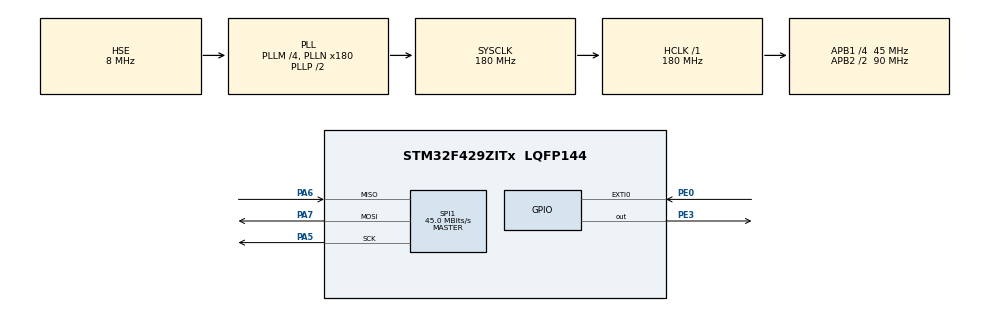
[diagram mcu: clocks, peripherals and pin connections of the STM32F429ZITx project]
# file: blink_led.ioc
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Mcu.Family=STM32F4
Mcu.Name=STM32F429ZITx
Mcu.Package=LQFP144
NVIC.EXTI0_IRQn=true\:0\:0\:false\:false\:true\:true\:true\:true
NVIC.PriorityGroup=NVIC_PRIORITYGROUP_4
PA13.Mode=Serial_Wire
PA13.Signal=SYS_JTMS-SWDIO
PA14.Mode=Serial_Wire
PA14.Signal=SYS_JTCK-SWCLK
PA5.Mode=Full_Duplex_Master
PA5.Signal=SPI1_SCK
PA6.Mode=Full_Duplex_Master
PA6.Signal=SPI1_MISO
PA7.Mode=Full_Duplex_Master
PA7.Signal=SPI1_MOSI
PE0.Signal=GPXTI0
PE3.PinState=GPIO_PIN_SET
PE3.Signal=GPIO_Output
PH0/OSC_IN.Mode=HSE-External-Oscillator
PH0/OSC_IN.Signal=RCC_OSC_IN
PH1/OSC_OUT.Mode=HSE-External-Oscillator
PH1/OSC_OUT.Signal=RCC_OSC_OUT
ProjectManager.HeapSize=0x200
ProjectManager.StackSize=0x400
ProjectManager.TargetToolchain=STM32CubeIDE
RCC.48MHZClocksFreq_Value=120000000
RCC.AHBFreq_Value=180000000
RCC.APB1CLKDivider=RCC_HCLK_DIV4
RCC.APB1Freq_Value=45000000
RCC.APB1TimFreq_Value=90000000
RCC.APB2CLKDivider=RCC_HCLK_DIV2
RCC.APB2Freq_Value=90000000
RCC.APB2TimFreq_Value=180000000
RCC.CortexFreq_Value=180000000
RCC.HCLKFreq_Value=180000000
RCC.HSE_VALUE=8000000
RCC.HSI_VALUE=16000000
RCC.LSE_VALUE=32768
RCC.PLLM=4
RCC.PLLN=180
RCC.PLLQ=3
RCC.PLLSAIN=50
RCC.PLLSourceVirtual=RCC_PLLSOURCE_HSE
RCC.SYSCLKFreq_VALUE=180000000
RCC.SYSCLKSource=RCC_SYSCLKSOURCE_PLLCLK
RCC.VCOOutputFreq_Value=360000000
SPI1.BaudRatePrescaler=SPI_BAUDRATEPRESCALER_2
SPI1.CalculateBaudRate=45.0 MBits/s
SPI1.Direction=SPI_DIRECTION_2LINES
SPI1.Mode=SPI_MODE_MASTER
SPI1.VirtualType=VM_MASTER
board=STM32F429I-DISC1

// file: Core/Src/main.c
/* USER CODE BEGIN Header */
/**
  ******************************************************************************
  * @file           : main.c
  * @brief          : Main program body
  ******************************************************************************
  * @attention
  *
  * Copyright (c) 2025 STMicroelectronics.
  * All rights reserved.
  *
  * This software is licensed under terms that can be found in the LICENSE file
  * in the root directory of this software component.
  * If no LICENSE file comes with this software, it is provided AS-IS.
  *
  ******************************************************************************
  */
/* USER CODE END Header */
#include "main.h"

SPI_HandleTypeDef hspi1;

/* USER CODE BEGIN PV */
uint8_t spi_tx_buf[2], spi_rx_buf[2];

/* USER CODE END PV */

void SystemClock_Config(void);
static void MX_GPIO_Init(void);
static void MX_SPI1_Init(void);

/* USER CODE BEGIN 0 */

void HAL_GPIO_EXTI_Callback(uint16_t GPIO_Pin)
{
  /* Prevent unused argument(s) compilation warning */
  UNUSED(GPIO_Pin);
  HAL_GPIO_WritePin(GPIOE, GPIO_PIN_3, GPIO_PIN_RESET);
  spi_tx_buf[0]= 0x29 | 0x80;
  HAL_SPI_Transmit(&hspi1, spi_tx_buf,1,10); //10ms
  HAL_SPI_Receive(&hspi1, spi_rx_buf,1,10); //10ms
  HAL_GPIO_WritePin(GPIOE, GPIO_PIN_3, GPIO_PIN_SET);

  //toggle led

}

/* USER CODE END 0 */

int main(void)
{

  /* MCU Configuration--------------------------------------------------------*/

  /* Reset of all peripherals, Initializes the Flash interface and the Systick. */
  HAL_Init();

  /* Configure the system clock */
  SystemClock_Config();

  /* Initialize all configured peripherals */
  MX_GPIO_Init();
  MX_SPI1_Init();
  /* USER CODE BEGIN 2 */
  HAL_GPIO_WritePin(GPIOE, GPIO_PIN_3, GPIO_PIN_RESET);
  spi_tx_buf[0]= 0x20;
  spi_tx_buf[1]= 0x91;
  HAL_SPI_Transmit(&hspi1, spi_tx_buf,2,10); //10ms
  HAL_GPIO_WritePin(GPIOE, GPIO_PIN_3, GPIO_PIN_SET);

  //Interrupt
  HAL_GPIO_WritePin(GPIOE, GPIO_PIN_3, GPIO_PIN_RESET);
  spi_tx_buf[0]= 0x23;
  spi_tx_buf[1]= 0xC8;
  HAL_SPI_Transmit(&hspi1, spi_tx_buf,2,10); //10ms
  HAL_GPIO_WritePin(GPIOE, GPIO_PIN_3, GPIO_PIN_SET);

  /* USER CODE END 2 */

  /* Infinite loop */
  while (1)
  {

  }
}

void SystemClock_Config(void)
{
  RCC_OscInitTypeDef RCC_OscInitStruct = {0};
  RCC_ClkInitTypeDef RCC_ClkInitStruct = {0};

  /** Configure the main internal regulator output voltage
  */
  __HAL_RCC_PWR_CLK_ENABLE();
  __HAL_PWR_VOLTAGESCALING_CONFIG(PWR_REGULATOR_VOLTAGE_SCALE1);

  /** Initializes the RCC Oscillators according to the specified parameters
  * in the RCC_OscInitTypeDef structure.
  */
  RCC_OscInitStruct.OscillatorType = RCC_OSCILLATORTYPE_HSE;
  RCC_OscInitStruct.HSEState = RCC_HSE_ON;
  RCC_OscInitStruct.PLL.PLLState = RCC_PLL_ON;
  RCC_OscInitStruct.PLL.PLLSource = RCC_PLLSOURCE_HSE;
  RCC_OscInitStruct.PLL.PLLM = 4;
  RCC_OscInitStruct.PLL.PLLN = 180;
  RCC_OscInitStruct.PLL.PLLP = RCC_PLLP_DIV2;
  RCC_OscInitStruct.PLL.PLLQ = 3;
  if (HAL_RCC_OscConfig(&RCC_OscInitStruct) != HAL_OK)
  {
    Error_Handler();
  }

  /** Activate the Over-Drive mode
  */
  if (HAL_PWREx_EnableOverDrive() != HAL_OK)
  {
    Error_Handler();
  }

  /** Initializes the CPU, AHB and APB buses clocks
  */
  RCC_ClkInitStruct.ClockType = RCC_CLOCKTYPE_HCLK|RCC_CLOCKTYPE_SYSCLK
                              |RCC_CLOCKTYPE_PCLK1|RCC_CLOCKTYPE_PCLK2;
  RCC_ClkInitStruct.SYSCLKSource = RCC_SYSCLKSOURCE_PLLCLK;
  RCC_ClkInitStruct.AHBCLKDivider = RCC_SYSCLK_DIV1;
  RCC_ClkInitStruct.APB1CLKDivider = RCC_HCLK_DIV4;
  RCC_ClkInitStruct.APB2CLKDivider = RCC_HCLK_DIV2;

  if (HAL_RCC_ClockConfig(&RCC_ClkInitStruct, FLASH_LATENCY_5) != HAL_OK)
  {
    Error_Handler();
  }
}

static void MX_SPI1_Init(void)
{

  /* SPI1 parameter configuration*/
  hspi1.Instance = SPI1;
  hspi1.Init.Mode = SPI_MODE_MASTER;
  hspi1.Init.Direction = SPI_DIRECTION_2LINES;
  hspi1.Init.DataSize = SPI_DATASIZE_8BIT;
  hspi1.Init.CLKPolarity = SPI_POLARITY_LOW;
  hspi1.Init.CLKPhase = SPI_PHASE_1EDGE;
  hspi1.Init.NSS = SPI_NSS_SOFT;
  hspi1.Init.BaudRatePrescaler = SPI_BAUDRATEPRESCALER_2;
  hspi1.Init.FirstBit = SPI_FIRSTBIT_MSB;
  hspi1.Init.TIMode = SPI_TIMODE_DISABLE;
  hspi1.Init.CRCCalculation = SPI_CRCCALCULATION_DISABLE;
  hspi1.Init.CRCPolynomial = 10;
  if (HAL_SPI_Init(&hspi1) != HAL_OK)
  {
    Error_Handler();
  }

}

static void MX_GPIO_Init(void)
{
  GPIO_InitTypeDef GPIO_InitStruct = {0};

  /* GPIO Ports Clock Enable */
  __HAL_RCC_GPIOE_CLK_ENABLE();
  __HAL_RCC_GPIOH_CLK_ENABLE();
  __HAL_RCC_GPIOA_CLK_ENABLE();

  /*Configure GPIO pin Output Level */
  HAL_GPIO_WritePin(GPIOE, GPIO_PIN_3, GPIO_PIN_SET);

  /*Configure GPIO pin : PE3 */
  GPIO_InitStruct.Pin = GPIO_PIN_3;
  GPIO_InitStruct.Mode = GPIO_MODE_OUTPUT_PP;
  GPIO_InitStruct.Pull = GPIO_NOPULL;
  GPIO_InitStruct.Speed = GPIO_SPEED_FREQ_LOW;
  HAL_GPIO_Init(GPIOE, &GPIO_InitStruct);

  /*Configure GPIO pin : PE0 */
  GPIO_InitStruct.Pin = GPIO_PIN_0;
  GPIO_InitStruct.Mode = GPIO_MODE_IT_RISING;
  GPIO_InitStruct.Pull = GPIO_NOPULL;
  HAL_GPIO_Init(GPIOE, &GPIO_InitStruct);

  /* EXTI interrupt init*/
  HAL_NVIC_SetPriority(EXTI0_IRQn, 0, 0);
  HAL_NVIC_EnableIRQ(EXTI0_IRQn);

}

void Error_Handler(void)
{
  __disable_irq();
  while (1)
  {
  }
}
